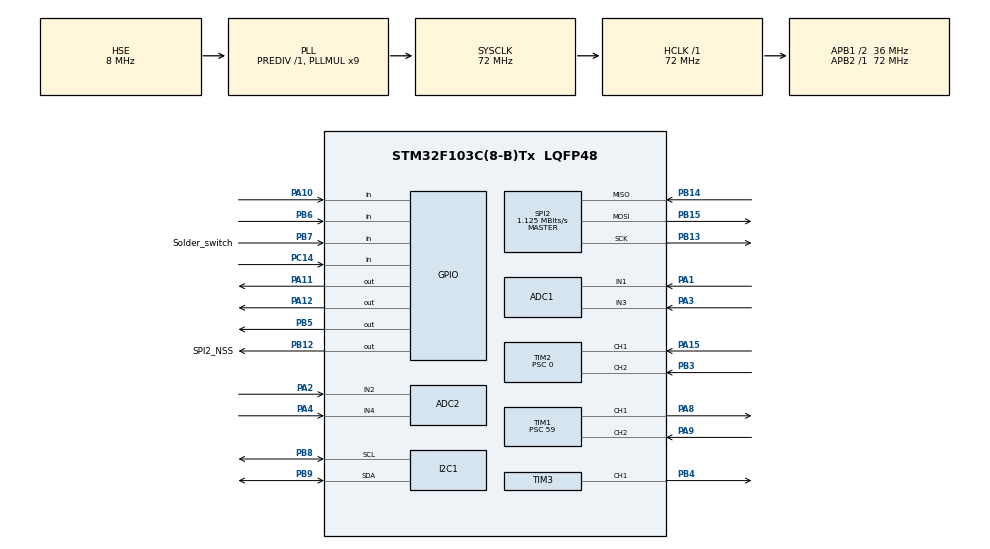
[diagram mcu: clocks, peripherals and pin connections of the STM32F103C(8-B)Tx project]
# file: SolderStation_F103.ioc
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ADC1.Channel-13\#ChannelRegularConversion=ADC_CHANNEL_3
ADC1.Channel-14\#ChannelRegularConversion=ADC_CHANNEL_1
ADC1.Channel-15\#ChannelRegularConversion=ADC_CHANNEL_3
ADC1.Channel-3\#ChannelRegularConversion=ADC_CHANNEL_1
ADC1.ContinuousConvMode=DISABLE
ADC1.ExternalTrigConv=ADC_SOFTWARE_START
ADC1.Mode=ADC_DUALMODE_REGSIMULT
ADC1.NbrOfConversion=4
ADC1.NbrOfConversionFlag=1
ADC1.Rank-13\#ChannelRegularConversion=2
ADC1.Rank-14\#ChannelRegularConversion=3
ADC1.Rank-15\#ChannelRegularConversion=4
ADC1.Rank-3\#ChannelRegularConversion=1
ADC1.SamplingTime-13\#ChannelRegularConversion=ADC_SAMPLETIME_71CYCLES_5
ADC1.SamplingTime-14\#ChannelRegularConversion=ADC_SAMPLETIME_71CYCLES_5
ADC1.SamplingTime-15\#ChannelRegularConversion=ADC_SAMPLETIME_71CYCLES_5
ADC1.SamplingTime-3\#ChannelRegularConversion=ADC_SAMPLETIME_71CYCLES_5
ADC1.master=1
ADC2.Channel-0\#ChannelRegularConversion=ADC_CHANNEL_2
ADC2.Channel-1\#ChannelRegularConversion=ADC_CHANNEL_4
ADC2.Channel-2\#ChannelRegularConversion=ADC_CHANNEL_2
ADC2.Channel-3\#ChannelRegularConversion=ADC_CHANNEL_4
ADC2.Mode=ADC_DUALMODE_REGSIMULT
ADC2.NbrOfConversion=4
ADC2.NbrOfConversionFlag=1
ADC2.Rank-0\#ChannelRegularConversion=1
ADC2.Rank-1\#ChannelRegularConversion=2
ADC2.Rank-2\#ChannelRegularConversion=3
ADC2.Rank-3\#ChannelRegularConversion=4
ADC2.SamplingTime-0\#ChannelRegularConversion=ADC_SAMPLETIME_71CYCLES_5
ADC2.SamplingTime-1\#ChannelRegularConversion=ADC_SAMPLETIME_71CYCLES_5
ADC2.SamplingTime-2\#ChannelRegularConversion=ADC_SAMPLETIME_71CYCLES_5
ADC2.SamplingTime-3\#ChannelRegularConversion=ADC_SAMPLETIME_71CYCLES_5
Dma.ADC1.0.Direction=DMA_PERIPH_TO_MEMORY
Dma.ADC1.0.Instance=DMA1_Channel1
Dma.ADC1.0.MemDataAlignment=DMA_MDATAALIGN_WORD
Dma.ADC1.0.MemInc=DMA_MINC_ENABLE
Dma.ADC1.0.Mode=DMA_CIRCULAR
Dma.ADC1.0.PeriphDataAlignment=DMA_PDATAALIGN_WORD
Dma.ADC1.0.PeriphInc=DMA_PINC_DISABLE
Dma.ADC1.0.Priority=DMA_PRIORITY_HIGH
Dma.I2C1_TX.1.Direction=DMA_MEMORY_TO_PERIPH
Dma.I2C1_TX.1.Instance=DMA1_Channel6
Dma.I2C1_TX.1.MemDataAlignment=DMA_MDATAALIGN_BYTE
Dma.I2C1_TX.1.MemInc=DMA_MINC_ENABLE
Dma.I2C1_TX.1.Mode=DMA_NORMAL
Dma.I2C1_TX.1.PeriphDataAlignment=DMA_PDATAALIGN_BYTE
Dma.I2C1_TX.1.PeriphInc=DMA_PINC_DISABLE
Dma.I2C1_TX.1.Priority=DMA_PRIORITY_LOW
Dma.Request0=ADC1
Dma.Request1=I2C1_TX
I2C1.I2C_Mode=I2C_Fast
I2C1.OwnAddress=19
Mcu.Family=STM32F1
Mcu.Name=STM32F103C(8-B)Tx
Mcu.Package=LQFP48
NVIC.DMA1_Channel1_IRQn=true\:0\:0\:false\:false\:true\:false\:true
NVIC.DMA1_Channel6_IRQn=true\:0\:0\:false\:false\:true\:false\:true
NVIC.I2C1_EV_IRQn=true\:0\:0\:false\:false\:true\:true\:true
NVIC.PriorityGroup=NVIC_PRIORITYGROUP_4
NVIC.TIM3_IRQn=true\:0\:0\:false\:false\:true\:true\:true
PA1.Signal=ADCx_IN1
PA10.Signal=GPIO_Input
PA11.GPIO_PuPd=GPIO_PULLDOWN
PA11.PinState=GPIO_PIN_SET
PA11.Signal=GPIO_Output
PA12.GPIO_PuPd=GPIO_PULLDOWN
PA12.PinState=GPIO_PIN_SET
PA12.Signal=GPIO_Output
PA13.Mode=Serial_Wire
PA13.Signal=SYS_JTMS-SWDIO
PA14.Mode=Serial_Wire
PA14.Signal=SYS_JTCK-SWCLK
PA15.Signal=S_TIM2_CH1_ETR
PA2.Signal=ADCx_IN2
PA3.Signal=ADCx_IN3
PA4.Signal=ADCx_IN4
PA8.Signal=S_TIM1_CH1
PA9.Signal=S_TIM1_CH2
PB12.GPIO_Label=SPI2_NSS
PB12.GPIO_Speed=GPIO_SPEED_FREQ_HIGH
PB12.PinState=GPIO_PIN_SET
PB12.Signal=GPIO_Output
PB13.Mode=Full_Duplex_Master
PB13.Signal=SPI2_SCK
PB14.Mode=Full_Duplex_Master
PB14.Signal=SPI2_MISO
PB15.Mode=Full_Duplex_Master
PB15.Signal=SPI2_MOSI
PB3.Signal=S_TIM2_CH2
PB4.Signal=S_TIM3_CH1
PB5.Signal=GPIO_Output
PB6.Signal=GPIO_Input
PB7.GPIO_Label=Solder_switch
PB7.Signal=GPIO_Input
PB8.Mode=I2C
PB8.Signal=I2C1_SCL
PB9.Mode=I2C
PB9.Signal=I2C1_SDA
PC14-OSC32_IN.Signal=GPIO_Input
PD0-OSC_IN.Mode=HSE-External-Oscillator
PD0-OSC_IN.Signal=RCC_OSC_IN
PD1-OSC_OUT.Mode=HSE-External-Oscillator
PD1-OSC_OUT.Signal=RCC_OSC_OUT
ProjectManager.HeapSize=0x200
ProjectManager.StackSize=0x400
ProjectManager.TargetToolchain=EWARM V8.32
RCC.ADCPresc=RCC_ADCPCLK2_DIV8
RCC.AHBFreq_Value=72000000
RCC.APB1CLKDivider=RCC_HCLK_DIV2
RCC.APB1Freq_Value=36000000
RCC.APB1TimFreq_Value=72000000
RCC.APB2Freq_Value=72000000
RCC.APB2TimFreq_Value=72000000
RCC.HCLKFreq_Value=72000000
RCC.PLLMUL=RCC_PLL_MUL9
RCC.PLLSourceVirtual=RCC_PLLSOURCE_HSE
RCC.SYSCLKFreq_VALUE=72000000
RCC.SYSCLKSource=RCC_SYSCLKSOURCE_PLLCLK
RCC.USBFreq_Value=72000000
SH.ADCx_IN1.0=ADC1_IN1,IN1
SH.ADCx_IN2.0=ADC2_IN2,IN2
SH.ADCx_IN3.0=ADC1_IN3,IN3
SH.ADCx_IN4.0=ADC2_IN4,IN4
SH.S_TIM1_CH1.0=TIM1_CH1,PWM Generation1 CH1
SH.S_TIM1_CH2.0=TIM1_CH2,TriggerSource_TI2FP2
SH.S_TIM2_CH1_ETR.0=TIM2_CH1,Encoder_Interface
SH.S_TIM2_CH2.0=TIM2_CH2,Encoder_Interface
SH.S_TIM3_CH1.0=TIM3_CH1,PWM Generation1 CH1
SPI2.BaudRatePrescaler=SPI_BAUDRATEPRESCALER_32
SPI2.CLKPhase=SPI_PHASE_2EDGE
SPI2.CLKPolarity=SPI_POLARITY_HIGH
SPI2.CalculateBaudRate=1.125 MBits/s
SPI2.Direction=SPI_DIRECTION_2LINES
SPI2.Mode=SPI_MODE_MASTER
SPI2.VirtualType=VM_MASTER
TIM1.Channel-PWM\ Generation1\ CH1=TIM_CHANNEL_1
TIM1.OC1Preload_PWM=DISABLE
TIM1.OCMode_PWM-PWM\ Generation1\ CH1=TIM_OCMODE_PWM2
TIM1.OCPolarity_1=TIM_OCPOLARITY_HIGH
TIM1.Period=10199
TIM1.Prescaler=59
TIM1.Pulse-PWM\ Generation1\ CH1=10200
TIM1.Slave_TriggerFilter=15
TIM1.Slave_TriggerPolarity=TIM_TRIGGERPOLARITY_RISING
TIM2.CounterMode=TIM_COUNTERMODE_CENTERALIGNED1
TIM2.EncoderMode=TIM_ENCODERMODE_TI1
TIM2.IC1Filter=15
TIM2.IC1Prescaler=TIM_ICPSC_DIV1
TIM2.IC2Filter=15
TIM2.Period=901
TIM2.Prescaler=0
TIM3.AutoReloadPreload=TIM_AUTORELOAD_PRELOAD_ENABLE
TIM3.Channel-PWM\ Generation1\ CH1=TIM_CHANNEL_1
TIM3.CounterMode=TIM_COUNTERMODE_UP
TIM3.OCMode_PWM-PWM\ Generation1\ CH1=TIM_OCMODE_PWM2
TIM3.OCPolarity_1=TIM_OCPOLARITY_HIGH
TIM3.Period=9999
TIM3.Prescaler=71
TIM3.Pulse-PWM\ Generation1\ CH1=10000
TIM3.TIM_MasterOutputTrigger=TIM_TRGO_UPDATE
TIM3.TIM_MasterSlaveMode=TIM_MASTERSLAVEMODE_DISABLE
VP_TIM1_VS_ControllerModeTrigger.Mode=Trigger Mode
VP_TIM1_VS_OPM.Mode=OPM_bit
board=custom

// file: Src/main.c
/* USER CODE BEGIN Header */
/**
  ******************************************************************************
  * @file           : main.c
  * @brief          : Main program body
  ******************************************************************************
  * @attention
  *
  * <h2><center>&copy; Copyright (c) 2020 STMicroelectronics.
  * All rights reserved.</center></h2>
  *
  * This software component is licensed by ST under BSD 3-Clause license,
  * the "License"; You may not use this file except in compliance with the
  * License. You may obtain a copy of the License at:
  *                        opensource.org/licenses/BSD-3-Clause
  *
  ******************************************************************************
  */
//
//----ADC1-----ADC2------
//after update ADC1 ch.1 ch.3 ch.1 ch.3
//             ADC2 ch.2 ch.4 ch.2 ch.4
// channels in adc_buffer: 1,2,3,4,1,2,3,4,1,2,3,4,1,2,3,4
//FAN Thermocouple    - PA.1 Ch.1
//FAN fan             - PA.2 Ch.2
//Solder Thermocouple - PA.3 Ch.3
//Spare channel       - PA.4. Ch.4

//Push buttons unpressed state = High level

/* USER CODE END Header */
#include "main.h"

/* USER CODE BEGIN Includes */
#include <math.h>
#include "sEEPROM.h"
#include "button_drv.h"
#include "MicroMenu.h"
#include "sEEPROM.h"
#include "ssd1306.h"
#include "menu.h"
#include "const_var.h"
/* USER CODE END Includes */

/* USER CODE BEGIN PM */
#define MIN(a,b) (((a)<(b))?(a):(b))
#define MAX(a,b) (((a)>(b))?(a):(b))
/* USER CODE END PM */

ADC_HandleTypeDef hadc1;
ADC_HandleTypeDef hadc2;
DMA_HandleTypeDef hdma_adc1;

I2C_HandleTypeDef hi2c1;
DMA_HandleTypeDef hdma_i2c1_tx;

SPI_HandleTypeDef hspi2;

TIM_HandleTypeDef htim1;
TIM_HandleTypeDef htim2;
TIM_HandleTypeDef htim3;

void SystemClock_Config(void);
static void MX_GPIO_Init(void);
static void MX_DMA_Init(void);
static void MX_I2C1_Init(void);
static void MX_TIM2_Init(void);
static void MX_TIM1_Init(void);
static void MX_TIM3_Init(void);
static void MX_ADC1_Init(void);
static void MX_SPI2_Init(void);
static void MX_ADC2_Init(void);
/* USER CODE BEGIN PFP */
volatile void delay(volatile uint32_t cnt);
void fan_working_layout(void);
void solder_working_layout(void);
void getADC_values(void);
void regulator_solder(void);
void regulator_fan(void);
void getDiscreteInputs(void);
/* USER CODE END PFP */

/* USER CODE BEGIN 0 */

void fan_working_layout(void)
{
  progstate = FAN_E;

  __IO uint16_t tim1cr1 = TIM2 -> CR1;
  tim1cr1 |= 0x0060; //CMS = 11, encoder value max = arr, no rollover
  TIM2 -> CR1 = tim1cr1;

  SSD1306_Fill(SSD1306_COLOR_BLACK);
  SSD1306_GotoXY(0, 0);
  SSD1306_Puts("Fan", &segoeUI_8ptFontInfo, SSD1306_COLOR_WHITE);
  SSD1306_GotoXY(0, 16);
  SSD1306_Puts("Set: ", &segoeUI_8ptFontInfo, SSD1306_COLOR_WHITE);
  SSD1306_GotoXY(50, 0);
  SSD1306_Puts("Blower: ", &segoeUI_8ptFontInfo, SSD1306_COLOR_WHITE);
}

void solder_working_layout(void)
{

  __IO uint16_t tim1cr1 = TIM2 -> CR1;
  tim1cr1 |= 0x0060; //CMS = 11, encoder value max = arr, no rollover
  TIM2 -> CR1 = tim1cr1;
  __HAL_TIM_SET_COUNTER(&htim2, Solder_temp_z * 2 + 1);
  progstate = SOLDER_E;

  SSD1306_Fill(SSD1306_COLOR_BLACK);
  SSD1306_GotoXY(0, 0);
  SSD1306_printf(&segoeUI_8ptFontInfo, "Solder %d",  N_solder_tip);
  SSD1306_GotoXY(0, 16);
  SSD1306_Puts("Set: ", &segoeUI_8ptFontInfo, SSD1306_COLOR_WHITE);
  SSD1306_GotoXY(100, 0);
  if(soldertype == T_12)
  {
    SSD1306_Puts("T-12", &segoeUI_8ptFontInfo, SSD1306_COLOR_WHITE);
  }
  else
  {
    SSD1306_Puts("H-907", &segoeUI_8ptFontInfo, SSD1306_COLOR_WHITE);
  }
}

void getADC_values(void)
{
  Solder_Thermocouple_adc = 0;
  Fan_Thermocouple_adc = 0;
  Fan_fan_adc  = 0;
  Solder_H907_adc = 0;

  for(uint8_t i = 0; i < 16; i += 4)
  {
    Fan_Thermocouple_adc += adc_buffer[i];
    Fan_fan_adc += adc_buffer[i + 1];
    Solder_Thermocouple_adc += adc_buffer[i + 2];
    Solder_H907_adc += adc_buffer[i + 3];
  }
  Solder_Thermocouple_adc /= 4;
  Fan_Thermocouple_adc /= 4;
  Fan_fan_adc  /= 4;
  Solder_H907_adc /= 4;

  //---------Normalization------------------------------------------------------
  Fan_Thermocouple_temp = (int16_t)((float)Fan_Thermocouple_adc * k_fan + b_fan) - 16 * !F_fan_gerkon; //Compensate gercon pullup resistor 1kOhm
  U_fan_temp = (float)Fan_Thermocouple_temp / 450.0f;
  U_fan_temp_z = (float)Fan_temp_z / 450.0f;

  if(soldertype == T_12)
  {
    Solder_Thermocouple_temp = (int16_t)((float)Solder_Thermocouple_adc * k_solder + b_solder);
  }
  else
  {
    Solder_Thermocouple_temp = (int16_t)((float)Solder_H907_adc * k_solder + b_solder);
  }
  U_solder_temp = (float)Solder_Thermocouple_temp / 400;
  U_solder_temp_z = (float)Solder_temp_z / 400;

  Fan_fan_percent = (uint16_t)(100 - (2550 - Fan_fan_adc) / 24.9);
  Fan_fan_percent = MIN(Fan_fan_percent, 100);

}

void regulator_solder(void)
{
  Uy_solder_p = U_solder_temp - U_solder_temp_z;
  Uy_solder_p = fmaxf(Uy_solder_p, -1.25);
  Uy_solder_p = fminf(Uy_solder_p, 1.25);

  Uy_solder_i = (Uy_solder_i + (tp / T1) * Uy_solder_p) * F_solder;
  Uy_solder_i = fminf(Uy_solder_i, 1);
  Uy_solder_i = fmaxf(Uy_solder_i, 0);

  Uy_solder = Uy_solder_p * (K1_h907 * (bool)soldertype + K1_t12 * !(bool)soldertype) + Uy_solder_i;

  //---Preheat H907 handle. When cold there is low resistance of the solder heater.
  if((soldertype == HAKKO_907) && (U_solder_temp <= 0.25))
  {
    Uy_solder = fmaxf(Uy_solder, Solder_H907_PWM_limit);//100 degree
  }

  Uy_solder = fminf(Uy_solder, 1.25);
  Uy_solder = fmaxf(Uy_solder, 0.12);
}

void regulator_fan(void)
{
  Uy_fan_p = U_fan_temp - U_fan_temp_z;
  Uy_fan_p = fmaxf(Uy_fan_p, -1.25);
  Uy_fan_p = fminf(Uy_fan_p, 1.25);

  Uy_fan_i = (Uy_fan_i + (tp / T2) * Uy_fan_p) * F_fan;
  Uy_fan_i = fminf(Uy_fan_i, 1);
  Uy_fan_i = fmaxf(Uy_fan_i, 0);

  Uy_fan = Uy_fan_p * K2 + Uy_fan_i;
  Uy_fan = fminf(Uy_fan, 1.25);
  Uy_fan = fmaxf(Uy_fan, 0.3);
}

//Get state of the fan handle gerkon and solder handle vibration switch
void getDiscreteInputs(void)
{
  bool F_fan_gerkon_tmp, F_solder_switch_tmp, F_fan_gerkon_gpio;
  static uint8_t F_fan_gerkon_cnt;
  static bool F_solder_switch_tmp_previous;

  //Gerkon with bounce protection
  F_fan_gerkon_tmp = HAL_GPIO_ReadPin(GPIOA, GPIO_PIN_10);
  F_fan_gerkon_cnt = (F_fan_gerkon_cnt + 1) * F_fan_gerkon_tmp;
  if(F_fan_gerkon_cnt >= DEBOUNCE)
  {
    F_fan_gerkon_cnt = DEBOUNCE;
    F_fan_gerkon_gpio = 1;
  }
  else F_fan_gerkon_gpio = 0;

  //----Fan switch off button-----------------------------------------------
  if(Fan_off_btn.ShortPush)
  {
    F_fan_btn_off = !F_fan_btn_off;
  }

  if(fan_switch_off_source == BUTT_GERCON)
  {
    // Костыль, тк везде по коду берется переменная F_fan_gerkon, а F_fan_btn_off добавлена позднее,
    // то результирующий сигнал выключения фена с кнопки или с геркона сводится к переменной F_fan_gerkon
    F_fan_gerkon = F_fan_gerkon_gpio & F_fan_btn_off; // Если управление феном установлено с кнопки, нажатие кнопки разрешает работу геркона, повторное нажатие делает переменную F_fan_gerkon = 0, т.е. работа фена запрещена.
  }
  else if(fan_switch_off_source == GERCON)
  {
     F_fan_gerkon = F_fan_gerkon_gpio;
  }
  else if(fan_switch_off_source == BUTTON)
  {
    F_fan_gerkon = F_fan_btn_off;
  }

  //  Vibration switch. Only changing of this signal is take into account.
  // Need for solder timeout
  if(soldertype == HAKKO_907) F_solder_switch = 0; //Turn off vibroswitch feature for Hakko 907 handle
  else
  {
    F_solder_switch_tmp = HAL_GPIO_ReadPin(GPIOB, GPIO_PIN_7);
    F_solder_switch = !(F_solder_switch_tmp ^ F_solder_switch_tmp_previous);
    F_solder_switch_tmp_previous = F_solder_switch_tmp;
  }
}

void blower_fan_manage(void)
{
  static bool F_blower_block;

  //Turn Off blower
  if((F_fan_gerkon == 0) && ((Fan_Thermocouple_temp <= FAN_FLUSH_TEMPERATURE) || (F_blower_block == 1)))
  {
    K_blower_flush = 1;
    K_blower_off = 0;
    F_blower_block = 1;
  }
  //Flush
  if((F_fan_gerkon == 0) && (Fan_Thermocouple_temp > FAN_FLUSH_TEMPERATURE) && (F_blower_block == 0))
  {
    K_blower_flush = 0;
    K_blower_off = 1;
  }
  //Working
  if(F_fan_gerkon == 1)
  {
    K_blower_flush = 1;
    K_blower_off = 1;
    F_blower_block = 0;
  }
  // Set outputs
  if(K_blower_flush) HAL_GPIO_WritePin(GPIOA, GPIO_PIN_11, GPIO_PIN_SET);
  else HAL_GPIO_WritePin(GPIOA, GPIO_PIN_11, GPIO_PIN_RESET);

  if(K_blower_off) HAL_GPIO_WritePin(GPIOA, GPIO_PIN_12, GPIO_PIN_SET);
  else HAL_GPIO_WritePin(GPIOA, GPIO_PIN_12, GPIO_PIN_RESET);
}

// Main Callback from Solder PWM timer at the end of PWM period.
void HAL_TIM_PeriodElapsedCallback(TIM_HandleTypeDef *htim)
{
  static uint16_t cnt_slowdown;
  static uint16_t Solder_timeout_cnt;

  uint16_t Fan_CCR_Load, Solder_CCR_Load;

  if (htim->Instance==TIM3) //check if the interrupt comes from TIM3(Solder PWM)
  {
    delay(4000);
    HAL_ADC_Start(&hadc1);
    getButtonState(&EncBtn);
    getButtonState(&Solder_off_btn);
    getButtonState(&Fan_off_btn);

    if(EncBtn.LongPush) BtnCntr_LongPush = 1;
    if(EncBtn.ShortPush) BtnCntr_ShortPush = 1;
    if(progstate == MENU_E) //Duplicate for menu
    {
      if(EncBtn.ShortPush) BtnCntr_Menu = 1;
    }

    getADC_values();
    getDiscreteInputs(); //Fan gerkon and solder handle vibration switch

    //---------Encoder----------------------------------------------------------
    //--if encoder value is less than SOLDER_MIN_TEMP_Z or FAN_MIN_TEMP_Z,
    // the correspinding devise is switch off
    uint16_t counter = __HAL_TIM_GET_COUNTER(&htim2);
    if(progstate == SOLDER_E)
    {
      //--------Solder Switch_off button------------------------------------------
      if(Solder_off_btn.ShortPush)
      {
        F_solder_btn_off = !F_solder_btn_off;
        // sEE_WriteBuffer(&hspi2, (uint8_t*)&F_solder_btn_off, EE_BTNOFF_SOLDER_ADDR, 1);
      }

      if(F_solder_btn_off)//If button not press
      {
        Solder_temp_z = (uint16_t)(counter / 2);
      }
      else
      {
        __HAL_TIM_SET_COUNTER(&htim2, Solder_temp_z * 2 + 1); //Freeze encoder input
      }

      if(Solder_temp_z <= SOLDER_MIN_TEMP_Z)//Switch off the iron with encoder
      {
        __HAL_TIM_SET_COUNTER(&htim2, SOLDER_MIN_TEMP_Z * 2 + 1);
        F_solder_enable = 0;
        Solder_temp_z = SOLDER_MIN_TEMP_Z;
      }
      else F_solder_enable = 1;
    }
    if(progstate == FAN_E)
    {
      //---Fan switch off button management in getDiscreteInputs()
      Fan_temp_z = (uint16_t)(counter / 2);
      if(Fan_temp_z <= FAN_MIN_TEMP_Z)//Switch off the fan with encoder
      {
        __HAL_TIM_SET_COUNTER(&htim2, FAN_MIN_TEMP_Z * 2 + 1);
        F_fan_enable = 0;
        Fan_temp_z = FAN_MIN_TEMP_Z;
      }
      else F_fan_enable = 1;
    }

    //-----------Solder timeout-------------------------------------------------
    // In case of Hakko907 handle F_solder_switch variable is allways become 0.
    if((Solder_temp_z - Solder_temp_z_former) != 0) F_encoder_change_value = 0;
    else F_encoder_change_value = 1; // if encoder changed its value, timeout reset
    Solder_timeout_cnt = (Solder_timeout_cnt + 1) * (F_solder_switch & F_encoder_change_value);
    if(Solder_timeout_cnt >= TimeoutTime * 100)
    {
      F_solder_timeout = 0;
      Solder_timeout_cnt = TimeoutTime * 100;
    }
    else F_solder_timeout = 1;

    //---------Protection from Fan thermocouple disconnection-------------------
    if(U_fan_temp > 1.05) F_fan_temp_protect = 1;
    else F_fan_temp_protect = 0;
    //---------Protection from blower stop or less than 30%---------------------
    if(Fan_fan_percent < 30)F_fan_blower_protect = 1;
    else F_fan_blower_protect = 0;
    //---------Protection from solder disconnection-----------------------------
    if(U_solder_temp > 1.075) F_solder_temp_protect = 1; //Or overheat in case of H907 handle
    else F_solder_temp_protect = 0;

    //---F_fan-----F_solder-----------------------------------------------------
    F_fan = F_fan_enable & F_fan_gerkon & !F_fan_temp_protect;
    F_solder = F_solder_timeout & F_solder_enable & !F_solder_temp_protect & F_solder_btn_off;

    blower_fan_manage(); //Blower flush and on/off

    if((progstate == SOLDER_E) || (progstate == FAN_E))
    {
      regulator_solder();
      regulator_fan();

      Solder_CCR_Load = (uint16_t)(Uy_solder * MAX_CCR_LOAD_SOLDER + !F_solder * MAX_CCR_LOAD_SOLDER);
      Fan_CCR_Load = (uint16_t)(Uy_fan * MAX_CCR_LOAD_FAN + !F_fan * MAX_CCR_LOAD_FAN);

      __HAL_TIM_SET_COMPARE(&htim3, TIM_CHANNEL_1, Solder_CCR_Load);
      __HAL_TIM_SET_COMPARE(&htim1, TIM_CHANNEL_1, Fan_CCR_Load);
    }

    //-------LED blinking-------------------------------------------------------
    if(cnt_slowdown++>50)
    {
      cnt_slowdown = 0;
      HAL_GPIO_TogglePin(GPIOB, GPIO_PIN_5);
    }
  }
}

volatile void delay(volatile uint32_t cnt)
{
  while (--cnt);
}
/* USER CODE END 0 */

int main(void)
{
  /* USER CODE BEGIN 1 */
  static uint16_t cntr;
  static bool Fcntr;
  static uint8_t cnt_filter; //filtering temperature for display
  /* USER CODE END 1 */

  /* MCU Configuration--------------------------------------------------------*/

  /* Reset of all peripherals, Initializes the Flash interface and the Systick. */
  HAL_Init();

  /* Configure the system clock */
  SystemClock_Config();

  /* Initialize all configured peripherals */
  MX_GPIO_Init();
  MX_DMA_Init();
  MX_I2C1_Init();
  MX_TIM2_Init();
  MX_TIM1_Init();
  MX_TIM3_Init();
  MX_ADC1_Init();
  MX_SPI2_Init();
  MX_ADC2_Init();
  /* USER CODE BEGIN 2 */

  SSD1306_Init(&hi2c1, 0x78);

  Button_Init(&EncBtn, GPIOB, GPIO_PIN_6);
  Button_Init(&Solder_off_btn, GPIOC, GPIO_PIN_14);
  Button_Init(&Fan_off_btn, GPIOC, GPIO_PIN_15);

  HAL_Delay(200);

  //Initiate EEPROM values
  __IO uint32_t ID_read;
  sEE_ReadBuffer(&hspi2, (uint8_t*)&ID_read, EE_ID_ADDR, 8);
  sEE_ReadBuffer(&hspi2, (uint8_t*)&ID_read, EE_ID_ADDR, 8);//Was error here, have to read 2 times

  //Erase EE_ID so eeprom will fill with default values. Kind of hard reset.
  //To hard reset, press the Switch-Off Solder Button while turning the station on
  if(HAL_GPIO_ReadPin(GPIOC, GPIO_PIN_14) == GPIO_PIN_RESET)
  {
    SSD1306_DrawFilledRectangle(0, 17, 127, 46, SSD1306_COLOR_BLACK);
    SSD1306_GotoXY(1, 17);
    SSD1306_Puts("Set default values.", &segoeUI_8ptFontInfo, SSD1306_COLOR_WHITE);
    SSD1306_UpdateScreen();

    uint8_t delaytimer = 60;
    do
    {
      delaytimer--;
      HAL_Delay(50);
    }while((HAL_GPIO_ReadPin(GPIOC, GPIO_PIN_14) == GPIO_PIN_RESET) && (delaytimer != 1)); //delay approx. 3s while holding the Solder button

    if(HAL_GPIO_ReadPin(GPIOC, GPIO_PIN_14) == GPIO_PIN_RESET)
    {
      ID_read = 0;
      sEE_WriteBuffer(&hspi2, (uint8_t*)&ID_read, EE_ID_ADDR, 4);
      for(uint8_t i = 0; i <10; i++)//LED blinking fast
      {
        HAL_GPIO_TogglePin(GPIOB, GPIO_PIN_5);
        HAL_Delay(50);
      }
    }
  }

  SSD1306_Fill(SSD1306_COLOR_BLACK);
  SSD1306_UpdateScreen();

  if(ID_read != ID_EE)
  {
    //k and b scaling coeffs for solder tips T12 and Hakko907
    for(uint8_t i = 0; i < 5; i++)
    {
      uint16_t address1 =  i * 8;
      uint16_t address2 = address1 + 4;
      sEE_WriteBuffer(&hspi2, (uint8_t*)&k_solder_T12_default, EE_CAL_COEFF_SOLDER_T12_ADDR + address1, 4);
      sEE_WriteBuffer(&hspi2, (uint8_t*)&b_solder_T12_default, EE_CAL_COEFF_SOLDER_T12_ADDR + address2, 4);

      sEE_WriteBuffer(&hspi2, (uint8_t*)&k_solder_H907_default, EE_CAL_COEFF_SOLDER_907_ADDR + address1, 4);
      sEE_WriteBuffer(&hspi2, (uint8_t*)&b_solder_H907_default, EE_CAL_COEFF_SOLDER_907_ADDR + address2, 4);
    }
    //k and b scaling coeffs for fan
    sEE_WriteBuffer(&hspi2, (uint8_t*)&k_fan_default, EE_CAL_COEFF_FAN_ADDR, 4);
    sEE_WriteBuffer(&hspi2, (uint8_t*)&b_fan_default, EE_CAL_COEFF_FAN_ADDR + 4, 4);
    //Timeout for solder
    sEE_WriteBuffer(&hspi2, (uint8_t*)&Timeout_time_default, EE_TIMEOUT_ADDR, 2);
    //preset temperature for fan and solder
    sEE_WriteBuffer(&hspi2, (uint8_t*)&Temp_z_default, EE_TEMP_Z_SOLDER_ADDR, 2);
    sEE_WriteBuffer(&hspi2, (uint8_t*)&Temp_z_default, EE_TEMP_Z_FAN_ADDR, 2);

    //Type of solder, T-12 or 907 handle
    sEE_WriteBuffer(&hspi2, (uint8_t*)&soldertype, EE_SOLDER_TYPE_ADDR, 1);
    //Number of current solder tip
    sEE_WriteBuffer(&hspi2, (uint8_t*)&N_tip_default, EE_TIP_N_ADDR, 1);
    //Fan switch-off source (front pannel button or handle gercon)
    sEE_WriteBuffer(&hspi2, (uint8_t*)&fan_switch_off_source, EE_FAN_SWOFF_ADDR, 1);
    //Solder H907 handle preheat PWM limit
    sEE_WriteBuffer(&hspi2, (uint8_t*)&Solder_H907_PWM_limit_default, EE_SOLDER_PWM_LIMIT_ADDR, 4);
    //ID
    ID_read = ID_EE;
    sEE_WriteBuffer(&hspi2, (uint8_t*)&ID_read, EE_ID_ADDR, 4);

    SSD1306_GotoXY(1, 17);
    SSD1306_Puts("Initial settings done.", &segoeUI_8ptFontInfo, SSD1306_COLOR_WHITE);
    SSD1306_UpdateScreen();
    HAL_Delay(2000);
  }

  sEE_ReadBuffer(&hspi2, (uint8_t*)&TimeoutTime, EE_TIMEOUT_ADDR, 2);

  sEE_ReadBuffer(&hspi2, (uint8_t*)&Solder_temp_z, EE_TEMP_Z_SOLDER_ADDR, 2);
  sEE_ReadBuffer(&hspi2, (uint8_t*)&Fan_temp_z, EE_TEMP_Z_FAN_ADDR, 2);
  sEE_ReadBuffer(&hspi2, (uint8_t*)&N_solder_tip, EE_TIP_N_ADDR, 1);

  sEE_ReadBuffer(&hspi2, (uint8_t*)&soldertype, EE_SOLDER_TYPE_ADDR, 1);
  uint16_t address1 =  (N_solder_tip -1) * 8;
  uint16_t address2 = address1 + 4;
  if(soldertype == T_12)
  {
    sEE_ReadBuffer(&hspi2, (uint8_t*)&k_solder, EE_CAL_COEFF_SOLDER_T12_ADDR + address1, 4);
    sEE_ReadBuffer(&hspi2, (uint8_t*)&b_solder, EE_CAL_COEFF_SOLDER_T12_ADDR + address2, 4);
  }
  else if(soldertype == HAKKO_907)
  {
    sEE_ReadBuffer(&hspi2, (uint8_t*)&k_solder, EE_CAL_COEFF_SOLDER_907_ADDR + address1, 4);
    sEE_ReadBuffer(&hspi2, (uint8_t*)&b_solder, EE_CAL_COEFF_SOLDER_907_ADDR + address2, 4);
  }

  sEE_ReadBuffer(&hspi2, (uint8_t*)&k_fan, EE_CAL_COEFF_FAN_ADDR, 4);
  sEE_ReadBuffer(&hspi2, (uint8_t*)&b_fan, EE_CAL_COEFF_FAN_ADDR + 4, 4);

  sEE_ReadBuffer(&hspi2, (uint8_t*)&Solder_H907_PWM_limit, EE_SOLDER_PWM_LIMIT_ADDR, 4);
  sEE_ReadBuffer(&hspi2, (uint8_t*)&fan_switch_off_source, EE_FAN_SWOFF_ADDR, 1);

  Solder_temp_z_former = Solder_temp_z;
  Fan_temp_z_former = Fan_temp_z;

  __HAL_TIM_SET_COUNTER(&htim2, Solder_temp_z * 2 + 1);
  __HAL_TIM_SET_AUTORELOAD(&htim2, 801);

  solder_working_layout();

    //ADC DMA in circular mode
  HAL_ADCEx_Calibration_Start(&hadc1);
  HAL_ADCEx_Calibration_Start(&hadc2);
  HAL_ADC_Start(&hadc2);
  HAL_ADCEx_MultiModeStart_DMA(&hadc1, (uint32_t*)&adc_buffer, 8);

  HAL_TIM_Encoder_Start(&htim2, TIM_CHANNEL_1);
  HAL_TIM_Base_Start_IT(&htim3);
  HAL_TIM_PWM_Start(&htim3, TIM_CHANNEL_1);
  HAL_TIM_PWM_Start(&htim1, TIM_CHANNEL_1);

  SSD1306_UpdateScreen();

  /* USER CODE END 2 */

  /* Infinite loop */
  /* USER CODE BEGIN WHILE */
  while (1)
  {

    //------Write preset temperature variable into eeprom after some time-------
    //------Both at the same time-----------------------------------------------
    if((progstate == SOLDER_E) || (progstate == FAN_E))
    {
      if(((Solder_temp_z - Solder_temp_z_former) != 0) || (Fan_temp_z - Fan_temp_z_former) != 0)
      {
        cntr = 0;
        Fcntr = 1;
      }
      cntr += Fcntr;
      if(cntr >= 40)
      {
        cntr = 0;
        Fcntr = 0;
        sEE_WriteBuffer(&hspi2, (uint8_t*)&Solder_temp_z, EE_TEMP_Z_SOLDER_ADDR, 2);
        sEE_WriteBuffer(&hspi2, (uint8_t*)&Fan_temp_z, EE_TEMP_Z_FAN_ADDR, 2);
      }
      Solder_temp_z_former = Solder_temp_z;
      Fan_temp_z_former = Fan_temp_z;
    }

    //-----Switch working layout, fan or solder---------------------------------
    if(BtnCntr_ShortPush)
    {
      if(progstate == SOLDER_E)
      {
        progstate = FAN_E;
        __HAL_TIM_SET_COUNTER(&htim2, Fan_temp_z * 2 + 1);
        __HAL_TIM_SET_AUTORELOAD(&htim2, 901);
        fan_working_layout();
      }
      else if(progstate == FAN_E)
      {
        progstate = SOLDER_E;
        __HAL_TIM_SET_COUNTER(&htim2, Solder_temp_z * 2 + 1);
        __HAL_TIM_SET_AUTORELOAD(&htim2, 801);
        solder_working_layout();
      }
      BtnCntr_ShortPush = 0;
    }

    //------------Set menu layout----------------------------------------------
    if(BtnCntr_LongPush)
    {
      BtnCntr_LongPush = 0;
      SSD1306_Fill(SSD1306_COLOR_BLACK);
      if((progstate == SOLDER_E) || (progstate == FAN_E))
      {
        prog_state_previous = progstate;
        progstate = MENU_E;
        //Switch off solder and fan
        __HAL_TIM_SET_COMPARE(&htim3, TIM_CHANNEL_1, MAX_CCR_LOAD_SOLDER);
        __HAL_TIM_SET_COMPARE(&htim1, TIM_CHANNEL_1, MAX_CCR_LOAD_FAN);

        SSD1306_GotoXY(20, 0);
        SSD1306_Puts("Settings menu", &mSGothic_12ptFontInfo, SSD1306_COLOR_WHITE);

        __IO uint16_t tim2cr1 = TIM2 -> CR1;
        tim2cr1 &= 0xFF9F; //CMS = 00, encoder value rollover
        TIM2 -> CR1 = tim2cr1;

        Menu_Navigate(&Menu_1);
        enc_value_previous = (uint16_t)(__HAL_TIM_GET_COUNTER(&htim2) / 2); //for proper menu show
      }
      else if(progstate == MENU_E)
      {
        solder_working_layout();
      }
      else fan_working_layout();
    }

    //----------Display information---------------------------------------------
    int32_t T_filtered;
    T_filtered = 0;

    //Filtering temperature for display
    Solder_filter_array[cnt_filter] = Solder_Thermocouple_temp;
    Fan_filter_array[cnt_filter++] = Fan_Thermocouple_temp;
    if(cnt_filter >= T_FILTER_N)
    {
      cnt_filter = 0;
    }

    if(progstate == SOLDER_E)//-----------------Solder-------------------------
    {
      for(uint8_t i = 0; i < T_FILTER_N; i++)
      {
        T_filtered += Solder_filter_array[i];
      }
      T_filtered /= T_FILTER_N;

      SSD1306_DrawFilledRectangle(96, 16, 31, 16, SSD1306_COLOR_BLACK);
      SSD1306_GotoXY(96, 19);
      if(F_solder_enable && F_solder_btn_off)
      {
        SSD1306_printf(&palatinoLinotype_12ptFontInfo, "%d",  Solder_temp_z);
      }
      else
      {
        SSD1306_printf(&palatinoLinotype_12ptFontInfo, "Off");
      }
      SSD1306_DrawFilledRectangle(0, 32, 127, 31, SSD1306_COLOR_BLACK);
      SSD1306_GotoXY(10, 35);
      SSD1306_printf(&amperzand_24ptFontInfo, "%d",  T_filtered);
      SSD1306_GotoXY(90, 48);
      if(!F_solder_timeout)
      {
        SSD1306_Puts("Time", &segoeUI_8ptFontInfo, SSD1306_COLOR_WHITE);
      }
      SSD1306_GotoXY(90, 38);
      if(F_solder_temp_protect)
      {
        SSD1306_Puts("Err!", &segoeUI_8ptFontInfo, SSD1306_COLOR_WHITE);
      }
      SSD1306_UpdateScreen();
      HAL_Delay(50);
    }
    else if(progstate == FAN_E)//----------------Fan----------------------------
    {
      for(uint8_t i = 0; i < T_FILTER_N; i++)
      {
        T_filtered += Fan_filter_array[i];
      }
      T_filtered /= T_FILTER_N;

      SSD1306_DrawFilledRectangle(96, 0, 31, 48, SSD1306_COLOR_BLACK);
      SSD1306_GotoXY(96, 19);
      if(F_fan_enable)
      {
        SSD1306_printf(&palatinoLinotype_12ptFontInfo, "%d",  Fan_temp_z);
      }
      else
      {
        SSD1306_printf(&palatinoLinotype_12ptFontInfo, "Off");
      }
      SSD1306_DrawFilledRectangle(0, 32, 127, 31, SSD1306_COLOR_BLACK);
      SSD1306_GotoXY(10, 35);
//      if(T_filtered >= 75)
//      {
        SSD1306_printf(&amperzand_24ptFontInfo, "%d",  T_filtered);
//      }
//      else
//      {
//        SSD1306_printf(&amperzand_24ptFontInfo, "<75" );
//      }
      SSD1306_GotoXY(95, 0);
      SSD1306_printf(&palatinoLinotype_12ptFontInfo, "%d%%",  Fan_fan_percent);
      if(F_fan_temp_protect || F_fan_blower_protect)
      {
        SSD1306_GotoXY(90, 38);
         SSD1306_Puts("Err!", &segoeUI_8ptFontInfo, SSD1306_COLOR_WHITE);
      }
      SSD1306_GotoXY(90, 50);
      if(F_fan_gerkon)
      {
         SSD1306_Puts("On", &segoeUI_8ptFontInfo, SSD1306_COLOR_WHITE);
      }
      else
      {
        SSD1306_Puts("Off", &segoeUI_8ptFontInfo, SSD1306_COLOR_WHITE);
      }
      SSD1306_UpdateScreen();
      HAL_Delay(50);
    }
    else if (progstate == MENU_E)
    {
      show_menu();
    }

    /* USER CODE END WHILE */

  }
}

void SystemClock_Config(void)
{
  RCC_OscInitTypeDef RCC_OscInitStruct = {0};
  RCC_ClkInitTypeDef RCC_ClkInitStruct = {0};
  RCC_PeriphCLKInitTypeDef PeriphClkInit = {0};

  /** Initializes the RCC Oscillators according to the specified parameters
  * in the RCC_OscInitTypeDef structure.
  */
  RCC_OscInitStruct.OscillatorType = RCC_OSCILLATORTYPE_HSE;
  RCC_OscInitStruct.HSEState = RCC_HSE_ON;
  RCC_OscInitStruct.HSEPredivValue = RCC_HSE_PREDIV_DIV1;
  RCC_OscInitStruct.HSIState = RCC_HSI_ON;
  RCC_OscInitStruct.PLL.PLLState = RCC_PLL_ON;
  RCC_OscInitStruct.PLL.PLLSource = RCC_PLLSOURCE_HSE;
  RCC_OscInitStruct.PLL.PLLMUL = RCC_PLL_MUL9;
  if (HAL_RCC_OscConfig(&RCC_OscInitStruct) != HAL_OK)
  {
    Error_Handler();
  }
  /** Initializes the CPU, AHB and APB buses clocks
  */
  RCC_ClkInitStruct.ClockType = RCC_CLOCKTYPE_HCLK|RCC_CLOCKTYPE_SYSCLK
                              |RCC_CLOCKTYPE_PCLK1|RCC_CLOCKTYPE_PCLK2;
  RCC_ClkInitStruct.SYSCLKSource = RCC_SYSCLKSOURCE_PLLCLK;
  RCC_ClkInitStruct.AHBCLKDivider = RCC_SYSCLK_DIV1;
  RCC_ClkInitStruct.APB1CLKDivider = RCC_HCLK_DIV2;
  RCC_ClkInitStruct.APB2CLKDivider = RCC_HCLK_DIV1;

  if (HAL_RCC_ClockConfig(&RCC_ClkInitStruct, FLASH_LATENCY_2) != HAL_OK)
  {
    Error_Handler();
  }
  PeriphClkInit.PeriphClockSelection = RCC_PERIPHCLK_ADC;
  PeriphClkInit.AdcClockSelection = RCC_ADCPCLK2_DIV8;
  if (HAL_RCCEx_PeriphCLKConfig(&PeriphClkInit) != HAL_OK)
  {
    Error_Handler();
  }
}

static void MX_ADC1_Init(void)
{

  ADC_MultiModeTypeDef multimode = {0};
  ADC_ChannelConfTypeDef sConfig = {0};

  /** Common config
  */
  hadc1.Instance = ADC1;
  hadc1.Init.ScanConvMode = ADC_SCAN_ENABLE;
  hadc1.Init.ContinuousConvMode = DISABLE;
  hadc1.Init.DiscontinuousConvMode = DISABLE;
  hadc1.Init.ExternalTrigConv = ADC_SOFTWARE_START;
  hadc1.Init.DataAlign = ADC_DATAALIGN_RIGHT;
  hadc1.Init.NbrOfConversion = 4;
  if (HAL_ADC_Init(&hadc1) != HAL_OK)
  {
    Error_Handler();
  }
  /** Configure the ADC multi-mode
  */
  multimode.Mode = ADC_DUALMODE_REGSIMULT;
  if (HAL_ADCEx_MultiModeConfigChannel(&hadc1, &multimode) != HAL_OK)
  {
    Error_Handler();
  }
  /** Configure Regular Channel
  */
  sConfig.Channel = ADC_CHANNEL_1;
  sConfig.Rank = ADC_REGULAR_RANK_1;
  sConfig.SamplingTime = ADC_SAMPLETIME_71CYCLES_5;
  if (HAL_ADC_ConfigChannel(&hadc1, &sConfig) != HAL_OK)
  {
    Error_Handler();
  }
  /** Configure Regular Channel
  */
  sConfig.Channel = ADC_CHANNEL_3;
  sConfig.Rank = ADC_REGULAR_RANK_2;
  if (HAL_ADC_ConfigChannel(&hadc1, &sConfig) != HAL_OK)
  {
    Error_Handler();
  }
  /** Configure Regular Channel
  */
  sConfig.Channel = ADC_CHANNEL_1;
  sConfig.Rank = ADC_REGULAR_RANK_3;
  if (HAL_ADC_ConfigChannel(&hadc1, &sConfig) != HAL_OK)
  {
    Error_Handler();
  }
  /** Configure Regular Channel
  */
  sConfig.Channel = ADC_CHANNEL_3;
  sConfig.Rank = ADC_REGULAR_RANK_4;
  if (HAL_ADC_ConfigChannel(&hadc1, &sConfig) != HAL_OK)
  {
    Error_Handler();
  }

}

static void MX_ADC2_Init(void)
{

  ADC_ChannelConfTypeDef sConfig = {0};

  /** Common config
  */
  hadc2.Instance = ADC2;
  hadc2.Init.ScanConvMode = ADC_SCAN_ENABLE;
  hadc2.Init.ContinuousConvMode = DISABLE;
  hadc2.Init.DiscontinuousConvMode = DISABLE;
  hadc2.Init.ExternalTrigConv = ADC_SOFTWARE_START;
  hadc2.Init.DataAlign = ADC_DATAALIGN_RIGHT;
  hadc2.Init.NbrOfConversion = 4;
  if (HAL_ADC_Init(&hadc2) != HAL_OK)
  {
    Error_Handler();
  }
  /** Configure Regular Channel
  */
  sConfig.Channel = ADC_CHANNEL_2;
  sConfig.Rank = ADC_REGULAR_RANK_1;
  sConfig.SamplingTime = ADC_SAMPLETIME_71CYCLES_5;
  if (HAL_ADC_ConfigChannel(&hadc2, &sConfig) != HAL_OK)
  {
    Error_Handler();
  }
  /** Configure Regular Channel
  */
  sConfig.Channel = ADC_CHANNEL_4;
  sConfig.Rank = ADC_REGULAR_RANK_2;
  if (HAL_ADC_ConfigChannel(&hadc2, &sConfig) != HAL_OK)
  {
    Error_Handler();
  }
  /** Configure Regular Channel
  */
  sConfig.Channel = ADC_CHANNEL_2;
  sConfig.Rank = ADC_REGULAR_RANK_3;
  if (HAL_ADC_ConfigChannel(&hadc2, &sConfig) != HAL_OK)
  {
    Error_Handler();
  }
  /** Configure Regular Channel
  */
  sConfig.Channel = ADC_CHANNEL_4;
  sConfig.Rank = ADC_REGULAR_RANK_4;
  if (HAL_ADC_ConfigChannel(&hadc2, &sConfig) != HAL_OK)
  {
    Error_Handler();
  }

}

static void MX_I2C1_Init(void)
{

  hi2c1.Instance = I2C1;
  hi2c1.Init.ClockSpeed = 400000;
  hi2c1.Init.DutyCycle = I2C_DUTYCYCLE_2;
  hi2c1.Init.OwnAddress1 = 38;
  hi2c1.Init.AddressingMode = I2C_ADDRESSINGMODE_7BIT;
  hi2c1.Init.DualAddressMode = I2C_DUALADDRESS_DISABLE;
  hi2c1.Init.OwnAddress2 = 0;
  hi2c1.Init.GeneralCallMode = I2C_GENERALCALL_DISABLE;
  hi2c1.Init.NoStretchMode = I2C_NOSTRETCH_DISABLE;
  if (HAL_I2C_Init(&hi2c1) != HAL_OK)
  {
    Error_Handler();
  }

}

static void MX_SPI2_Init(void)
{

  /* SPI2 parameter configuration*/
  hspi2.Instance = SPI2;
  hspi2.Init.Mode = SPI_MODE_MASTER;
  hspi2.Init.Direction = SPI_DIRECTION_2LINES;
  hspi2.Init.DataSize = SPI_DATASIZE_8BIT;
  hspi2.Init.CLKPolarity = SPI_POLARITY_HIGH;
  hspi2.Init.CLKPhase = SPI_PHASE_2EDGE;
  hspi2.Init.NSS = SPI_NSS_SOFT;
  hspi2.Init.BaudRatePrescaler = SPI_BAUDRATEPRESCALER_32;
  hspi2.Init.FirstBit = SPI_FIRSTBIT_MSB;
  hspi2.Init.TIMode = SPI_TIMODE_DISABLE;
  hspi2.Init.CRCCalculation = SPI_CRCCALCULATION_DISABLE;
  hspi2.Init.CRCPolynomial = 10;
  if (HAL_SPI_Init(&hspi2) != HAL_OK)
  {
    Error_Handler();
  }

}

static void MX_TIM1_Init(void)
{

  TIM_SlaveConfigTypeDef sSlaveConfig = {0};
  TIM_MasterConfigTypeDef sMasterConfig = {0};
  TIM_OC_InitTypeDef sConfigOC = {0};
  TIM_BreakDeadTimeConfigTypeDef sBreakDeadTimeConfig = {0};

  htim1.Instance = TIM1;
  htim1.Init.Prescaler = 59;
  htim1.Init.CounterMode = TIM_COUNTERMODE_UP;
  htim1.Init.Period = 10199;
  htim1.Init.ClockDivision = TIM_CLOCKDIVISION_DIV1;
  htim1.Init.RepetitionCounter = 0;
  htim1.Init.AutoReloadPreload = TIM_AUTORELOAD_PRELOAD_DISABLE;
  if (HAL_TIM_Base_Init(&htim1) != HAL_OK)
  {
    Error_Handler();
  }
  if (HAL_TIM_PWM_Init(&htim1) != HAL_OK)
  {
    Error_Handler();
  }
  if (HAL_TIM_OnePulse_Init(&htim1, TIM_OPMODE_SINGLE) != HAL_OK)
  {
    Error_Handler();
  }
  sSlaveConfig.SlaveMode = TIM_SLAVEMODE_TRIGGER;
  sSlaveConfig.InputTrigger = TIM_TS_TI2FP2;
  sSlaveConfig.TriggerPolarity = TIM_TRIGGERPOLARITY_RISING;
  sSlaveConfig.TriggerFilter = 15;
  if (HAL_TIM_SlaveConfigSynchro(&htim1, &sSlaveConfig) != HAL_OK)
  {
    Error_Handler();
  }
  sMasterConfig.MasterOutputTrigger = TIM_TRGO_RESET;
  sMasterConfig.MasterSlaveMode = TIM_MASTERSLAVEMODE_DISABLE;
  if (HAL_TIMEx_MasterConfigSynchronization(&htim1, &sMasterConfig) != HAL_OK)
  {
    Error_Handler();
  }
  sConfigOC.OCMode = TIM_OCMODE_PWM2;
  sConfigOC.Pulse = 10200;
  sConfigOC.OCPolarity = TIM_OCPOLARITY_HIGH;
  sConfigOC.OCNPolarity = TIM_OCNPOLARITY_HIGH;
  sConfigOC.OCFastMode = TIM_OCFAST_DISABLE;
  sConfigOC.OCIdleState = TIM_OCIDLESTATE_RESET;
  sConfigOC.OCNIdleState = TIM_OCNIDLESTATE_RESET;
  if (HAL_TIM_PWM_ConfigChannel(&htim1, &sConfigOC, TIM_CHANNEL_1) != HAL_OK)
  {
    Error_Handler();
  }
  __HAL_TIM_DISABLE_OCxPRELOAD(&htim1, TIM_CHANNEL_1);
  sBreakDeadTimeConfig.OffStateRunMode = TIM_OSSR_DISABLE;
  sBreakDeadTimeConfig.OffStateIDLEMode = TIM_OSSI_DISABLE;
  sBreakDeadTimeConfig.LockLevel = TIM_LOCKLEVEL_OFF;
  sBreakDeadTimeConfig.DeadTime = 0;
  sBreakDeadTimeConfig.BreakState = TIM_BREAK_DISABLE;
  sBreakDeadTimeConfig.BreakPolarity = TIM_BREAKPOLARITY_HIGH;
  sBreakDeadTimeConfig.AutomaticOutput = TIM_AUTOMATICOUTPUT_DISABLE;
  if (HAL_TIMEx_ConfigBreakDeadTime(&htim1, &sBreakDeadTimeConfig) != HAL_OK)
  {
    Error_Handler();
  }
  HAL_TIM_MspPostInit(&htim1);

}

static void MX_TIM2_Init(void)
{

  TIM_Encoder_InitTypeDef sConfig = {0};
  TIM_MasterConfigTypeDef sMasterConfig = {0};

  htim2.Instance = TIM2;
  htim2.Init.Prescaler = 0;
  htim2.Init.CounterMode = TIM_COUNTERMODE_CENTERALIGNED1;
  htim2.Init.Period = 901;
  htim2.Init.ClockDivision = TIM_CLOCKDIVISION_DIV1;
  htim2.Init.AutoReloadPreload = TIM_AUTORELOAD_PRELOAD_DISABLE;
  sConfig.EncoderMode = TIM_ENCODERMODE_TI1;
  sConfig.IC1Polarity = TIM_ICPOLARITY_RISING;
  sConfig.IC1Selection = TIM_ICSELECTION_DIRECTTI;
  sConfig.IC1Prescaler = TIM_ICPSC_DIV1;
  sConfig.IC1Filter = 15;
  sConfig.IC2Polarity = TIM_ICPOLARITY_RISING;
  sConfig.IC2Selection = TIM_ICSELECTION_DIRECTTI;
  sConfig.IC2Prescaler = TIM_ICPSC_DIV1;
  sConfig.IC2Filter = 15;
  if (HAL_TIM_Encoder_Init(&htim2, &sConfig) != HAL_OK)
  {
    Error_Handler();
  }
  sMasterConfig.MasterOutputTrigger = TIM_TRGO_RESET;
  sMasterConfig.MasterSlaveMode = TIM_MASTERSLAVEMODE_DISABLE;
  if (HAL_TIMEx_MasterConfigSynchronization(&htim2, &sMasterConfig) != HAL_OK)
  {
    Error_Handler();
  }

}

static void MX_TIM3_Init(void)
{

  TIM_MasterConfigTypeDef sMasterConfig = {0};
  TIM_OC_InitTypeDef sConfigOC = {0};

  htim3.Instance = TIM3;
  htim3.Init.Prescaler = 71;
  htim3.Init.CounterMode = TIM_COUNTERMODE_UP;
  htim3.Init.Period = 9999;
  htim3.Init.ClockDivision = TIM_CLOCKDIVISION_DIV1;
  htim3.Init.AutoReloadPreload = TIM_AUTORELOAD_PRELOAD_ENABLE;
  if (HAL_TIM_PWM_Init(&htim3) != HAL_OK)
  {
    Error_Handler();
  }
  sMasterConfig.MasterOutputTrigger = TIM_TRGO_UPDATE;
  sMasterConfig.MasterSlaveMode = TIM_MASTERSLAVEMODE_DISABLE;
  if (HAL_TIMEx_MasterConfigSynchronization(&htim3, &sMasterConfig) != HAL_OK)
  {
    Error_Handler();
  }
  sConfigOC.OCMode = TIM_OCMODE_PWM2;
  sConfigOC.Pulse = 10000;
  sConfigOC.OCPolarity = TIM_OCPOLARITY_HIGH;
  sConfigOC.OCFastMode = TIM_OCFAST_DISABLE;
  if (HAL_TIM_PWM_ConfigChannel(&htim3, &sConfigOC, TIM_CHANNEL_1) != HAL_OK)
  {
    Error_Handler();
  }
  HAL_TIM_MspPostInit(&htim3);

}

static void MX_DMA_Init(void)
{

  /* DMA controller clock enable */
  __HAL_RCC_DMA1_CLK_ENABLE();

  /* DMA interrupt init */
  /* DMA1_Channel1_IRQn interrupt configuration */
  HAL_NVIC_SetPriority(DMA1_Channel1_IRQn, 0, 0);
  HAL_NVIC_EnableIRQ(DMA1_Channel1_IRQn);
  /* DMA1_Channel6_IRQn interrupt configuration */
  HAL_NVIC_SetPriority(DMA1_Channel6_IRQn, 0, 0);
  HAL_NVIC_EnableIRQ(DMA1_Channel6_IRQn);

}

static void MX_GPIO_Init(void)
{
  GPIO_InitTypeDef GPIO_InitStruct = {0};

  /* GPIO Ports Clock Enable */
  __HAL_RCC_GPIOC_CLK_ENABLE();
  __HAL_RCC_GPIOD_CLK_ENABLE();
  __HAL_RCC_GPIOA_CLK_ENABLE();
  __HAL_RCC_GPIOB_CLK_ENABLE();

  /*Configure GPIO pin Output Level */
  HAL_GPIO_WritePin(SPI2_NSS_GPIO_Port, SPI2_NSS_Pin, GPIO_PIN_SET);

  /*Configure GPIO pin Output Level */
  HAL_GPIO_WritePin(GPIOA, GPIO_PIN_11, GPIO_PIN_SET);
  HAL_GPIO_WritePin(GPIOA, GPIO_PIN_12, GPIO_PIN_RESET);
  /*Configure GPIO pin Output Level */
  HAL_GPIO_WritePin(GPIOB, GPIO_PIN_5, GPIO_PIN_RESET);

  /*Configure GPIO pin : PC14 */
  GPIO_InitStruct.Pin = GPIO_PIN_14;
  GPIO_InitStruct.Mode = GPIO_MODE_INPUT;
  GPIO_InitStruct.Pull = GPIO_NOPULL;
  HAL_GPIO_Init(GPIOC, &GPIO_InitStruct);

  /*Configure GPIO pin : SPI2_NSS_Pin */
  GPIO_InitStruct.Pin = SPI2_NSS_Pin;
  GPIO_InitStruct.Mode = GPIO_MODE_OUTPUT_PP;
  GPIO_InitStruct.Pull = GPIO_NOPULL;
  GPIO_InitStruct.Speed = GPIO_SPEED_FREQ_HIGH;
  HAL_GPIO_Init(SPI2_NSS_GPIO_Port, &GPIO_InitStruct);

  /*Configure GPIO pin : PA10 */
  GPIO_InitStruct.Pin = GPIO_PIN_10;
  GPIO_InitStruct.Mode = GPIO_MODE_INPUT;
  GPIO_InitStruct.Pull = GPIO_NOPULL;
  HAL_GPIO_Init(GPIOA, &GPIO_InitStruct);

  /*Configure GPIO pins : PA11 PA12 */
  GPIO_InitStruct.Pin = GPIO_PIN_11|GPIO_PIN_12;
  GPIO_InitStruct.Mode = GPIO_MODE_OUTPUT_PP;
  GPIO_InitStruct.Pull = GPIO_PULLDOWN;
  GPIO_InitStruct.Speed = GPIO_SPEED_FREQ_LOW;
  HAL_GPIO_Init(GPIOA, &GPIO_InitStruct);

  /*Configure GPIO pin : PB5 */
  GPIO_InitStruct.Pin = GPIO_PIN_5;
  GPIO_InitStruct.Mode = GPIO_MODE_OUTPUT_PP;
  GPIO_InitStruct.Pull = GPIO_NOPULL;
  GPIO_InitStruct.Speed = GPIO_SPEED_FREQ_LOW;
  HAL_GPIO_Init(GPIOB, &GPIO_InitStruct);

  /*Configure GPIO pins : PB6 Solder_switch_Pin */
  GPIO_InitStruct.Pin = GPIO_PIN_6|Solder_switch_Pin;
  GPIO_InitStruct.Mode = GPIO_MODE_INPUT;
  GPIO_InitStruct.Pull = GPIO_NOPULL;
  HAL_GPIO_Init(GPIOB, &GPIO_InitStruct);

}

void Error_Handler(void)
{
}

/************************ (C) COPYRIGHT STMicroelectronics *****END OF FILE****/
